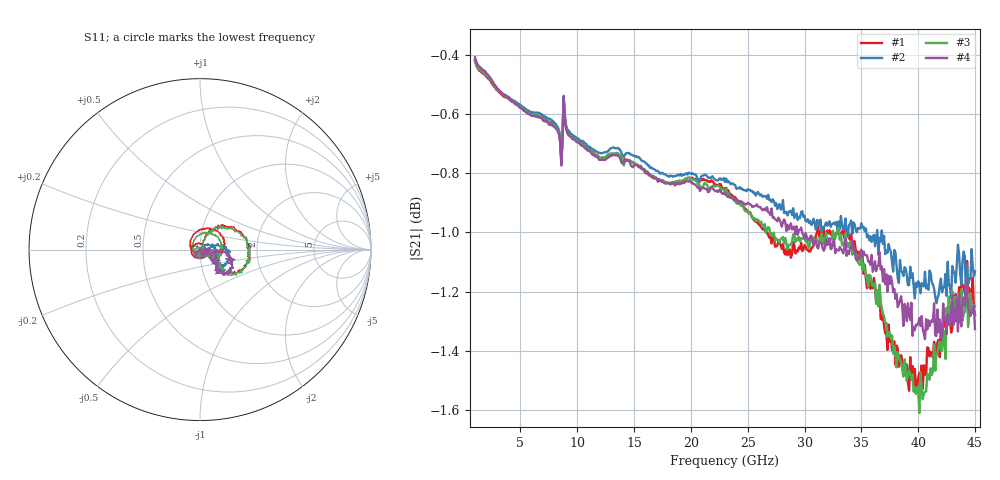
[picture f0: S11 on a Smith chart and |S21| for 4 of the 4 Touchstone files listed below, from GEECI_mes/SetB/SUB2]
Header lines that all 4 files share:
!Keysight Technologies,N5247B,MY61255062,A.19.80.06
!Correction: S11(Cdelta 2-Port  )
!S21(Cdelta 2-Port  )
!S12(Cdelta 2-Port  )
!S22(Cdelta 2-Port  )
!S2P File: Measurements: S11, S21, S12, S22:
# Hz S  dB  R 50
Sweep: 1 GHz to 45 GHz
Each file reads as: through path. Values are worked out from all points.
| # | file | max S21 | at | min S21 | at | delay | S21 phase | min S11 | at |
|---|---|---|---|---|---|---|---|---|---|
| 1 | TN1_120um.s2p | -0.42 dB | 1 GHz | -1.5 dB | 39.2 GHz | 56.1 ps | -106 deg at 23 GHz | -43.1 dB | 8.7 GHz |
| 2 | TN2_30um.s2p | -0.42 dB | 1 GHz | -1.2 dB | 41.6 GHz | 55.9 ps | -104 deg at 23 GHz | -54.8 dB | 25.6 GHz |
| 3 | TN3_120um.s2p | -0.42 dB | 1 GHz | -1.6 dB | 40.1 GHz | 56.2 ps | -107 deg at 23 GHz | -49.5 dB | 8.7 GHz |
| 4 | TN6_30um.s2p | -0.41 dB | 1 GHz | -1.4 dB | 40.6 GHz | 56.6 ps | -109 deg at 23 GHz | -47.4 dB | 8.4 GHz |
